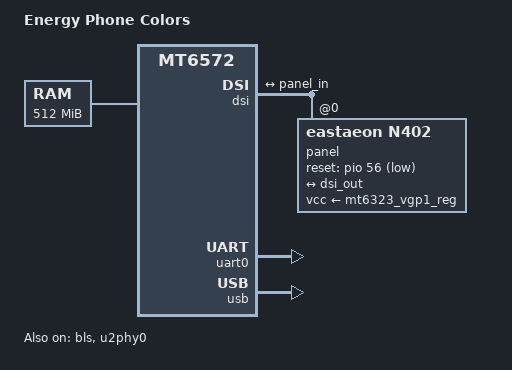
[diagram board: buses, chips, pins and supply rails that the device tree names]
// SPDX-License-Identifier: GPL-2.0
/*
 * Copyright (c) 2026 rva3 <rva333@protonmail.com>
 */

/dts-v1/;
#include <dt-bindings/gpio/gpio.h>
//#include <dt-bindings/iio/adc/mediatek,mt6323-auxadc.h>
#include "mt6572.dtsi"
#include "mt6323.dtsi"

/ {
	model = "Energy Phone Colors";
	compatible = "energysistem,colors", "mediatek,mt6572";

	aliases {
		serial0 = &uart0;
	};

	chosen {
		#address-cells = <1>;
		#size-cells = <1>;
		stdout-path = "serial0:921600n8";
	};

	memory@80000000 {
		device_type = "memory";
		reg = <0x80000000 0x20000000>;
	};

	reserved-memory {
		#address-cells = <1>;
		#size-cells = <1>;
		ranges;

		connsys@80000000 {
			reg = <0x80000000 0x100000>;
			no-map;
		};

		framebuffer_reserved: framebuffer@9fa00000 {
			reg = <0x9fa00000 0x600000>;
			no-map;
		};

	};
};

&cpu0 {
	proc-supply = <&mt6323_vproc_reg>;
};

&cpu1 {
	proc-supply = <&mt6323_vproc_reg>;
};

&bls {
	status = "okay";
};

&dsi {
	#address-cells = <1>;
	#size-cells = <0>;
	status = "okay";

	panel@0 {
		compatible = "eastaeon,n402";
		reg = <0>;
		vcc-supply = <&mt6323_vgp1_reg>;

		reset-gpios = <&pio 56 GPIO_ACTIVE_LOW>;

		port {
			panel_in: endpoint {
				remote-endpoint = <&dsi_out>;
			};
		};
	};

	port {
		dsi_out: endpoint {
			remote-endpoint = <&panel_in>;
		};
	};
};

&mt6323keys {
	power-off-time-sec = <5>;
	home {
		status = "disabled";
	};
};

&uart0 {
	status = "okay";
};

&usb {
	status = "okay";
};

&u2phy0 {
	status = "okay";
};

&pmic {
	pinctrl-0 = <&pmic_int_pins>;
	pinctrl-names = "default";
	interrupts = <16 IRQ_TYPE_LEVEL_HIGH>;
};

&pwrap {
	assigned-clocks = <&topckgen CLK_TOP_PMIC_SPI_SEL>;
	assigned-clock-parents = <&uart_clk>;
};

&pio {
	pmic_int_pins: pmic-int-pins {
		pins {
			pinmux = <MT6572_PIN_7_PMIC_EINT__FUNC_PMIC_EINT>;
			input-enable;
			bias-pull-down;
		};
	};
};
